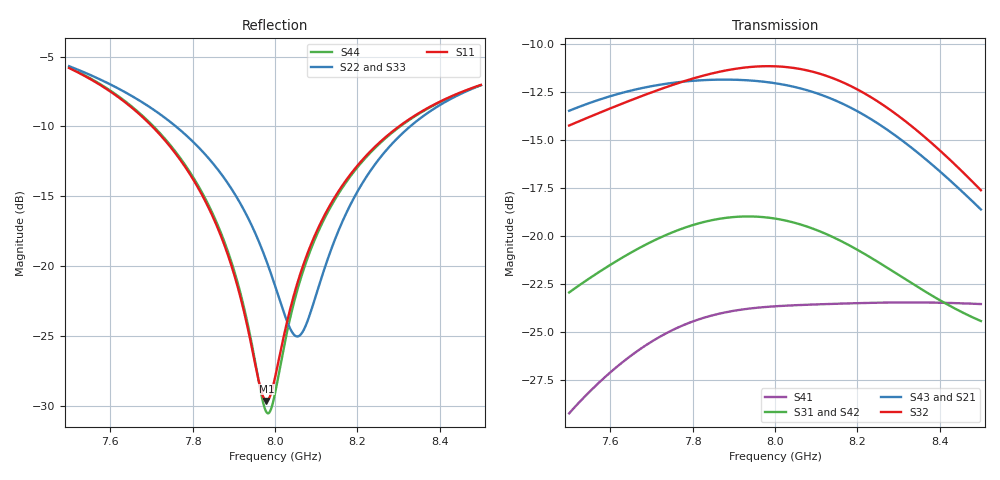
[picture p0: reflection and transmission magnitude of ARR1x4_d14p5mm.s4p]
! Touchstone file exported from HFSS 2025.1.0
!  File:  C:/Users/user/Documents/Ansoft/TFG_UWB-MIMO-Array.aedt
!  Generated:  05:34:56 PM Nov 20, 2026
!  Design:  ARR1x4_P01_MS2_dparam
!  Project:  TFG_UWB-MIMO-Array
!  Setup:  Setup_ch9
!  Solution:  Sweep_7p5_8p5
! Variables:
!  arr_d = 14.5mm
!  board_m = 13mm
!  board_x = 69.5mm
!  board_y = 26mm
!  cu_t = 0.035mm
!  line_w = 3.92mm
!  pad_xy = 22mm
!  pad_zn = 25mm
!  pad_zp = 33mm
!  patch_L = 7.322mm
!  patch_W = 11.421266mm
!  sub_h = 2.07mm
!  tr_l = 7.1mm
!  tr_w = 0.8mm
# GHz S MA R 50.000000
! Terminal data exported
! Port[1] = P1
! Port[2] = P2
! Port[3] = P3
! Port[4] = P4
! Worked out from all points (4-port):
!   1001 points, 7.5 GHz to 8.5 GHz, reference 50 ohm
!   strongest paths, dB at 7.5 GHz, 7.75 GHz, 8 GHz, 8.25 GHz, 8.5 GHz:
!     S32: -14.3, -12.2, -11.2, -13.0, -17.6
!     S43: -13.5, -12.0, -12.1, -14.2, -18.6
!     S21: -13.5, -12.1, -12.1, -14.2, -18.7
!     S31: -22.9, -19.8, -19.1, -21.4, -24.4
!     S42: -23.0, -19.8, -19.1, -21.4, -24.6
!     S41: -29.2, -24.9, -23.7, -23.5, -23.5
!   lowest |S11| = -29.7 dB at 7.979 GHz (marker M1), VSWR 1.07, Z = 53.1 + j1.37 ohm
!   |S11| at or under -10 dB: 7.702 GHz to 8.301 GHz (598.9 MHz wide, 7.49 % of centre)
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7.5  0.5121 161.6  0.2113 -13.6  0.07124 -125.4  0.03453 100.1
     0.2113 -13.6  0.5201 167.8  0.1938 -9.5  0.07075 -124.8
     0.07124 -125.4  0.1938 -9.5  0.5182 168.0  0.2116 -13.3
     0.03453 100.1  0.07075 -124.8  0.2116 -13.3  0.5148 162.2
7.814  0.1898 120.2  0.2526 -68.7  0.1077 157.1  0.06058 -7.8
       0.2526 -68.7  0.2666 134.7  0.2592 -59.9  0.1075 157.7
       0.1077 157.1  0.2592 -59.9  0.2637 135.0  0.2539 -68.5
       0.06058 -7.8  0.1075 157.7  0.2539 -68.5  0.1934 121.7
7.901  0.09299 100.0  0.2533 -84.9  0.112 131.2  0.06385 -43.2
       0.2533 -84.9  0.1824 120.0  0.2719 -76.8  0.1118 131.9
       0.112 131.2  0.2719 -76.8  0.1794 120.4  0.2549 -84.6
       0.06385 -43.2  0.1118 131.9  0.2549 -84.6  0.09598 103.1
7.979  0.03284 23.2  0.2497 -99.7  0.1117 106.8  0.06532 -76.1
       0.2497 -99.7  0.1045 96.6  0.2765 -93.0  0.1115 107.5
       0.1117 106.8  0.2765 -93.0  0.1014 96.9  0.2514 -99.5
       0.06532 -76.1  0.1115 107.5  0.2514 -99.5  0.02999 31.6
8.056  0.08843 -53.4  0.241 -114.9  0.1075 81.7  0.06604 -108.9
       0.241 -114.9  0.05597 26.9  0.2725 -109.8  0.1072 82.3
       0.1075 81.7  0.2725 -109.8  0.05407 24.6  0.2429 -114.7
       0.06604 -108.9  0.1072 82.3  0.2429 -114.7  0.08377 -54.0
8.161  0.1918 -76.3  0.2198 -135.9  0.09687 46.3  0.06664 -152.7
       0.2198 -135.9  0.1413 -51.9  0.252 -133.1  0.09635 46.9
       0.09687 46.3  0.252 -133.1  0.1424 -52.9  0.2216 -135.8
       0.06664 -152.7  0.09635 46.9  0.2216 -135.8  0.1883 -76.7
8.5  0.4457 -117.4  0.1161 163.9  0.06003 -65.1  0.06646 93.6
     0.1161 163.9  0.4445 -112.1  0.1315 161.0  0.05873 -65.1
     0.06003 -65.1  0.1315 161.0  0.4443 -112.3  0.1171 164.0
     0.06646 93.6  0.05873 -65.1  0.1171 164.0  0.4445 -117.5
